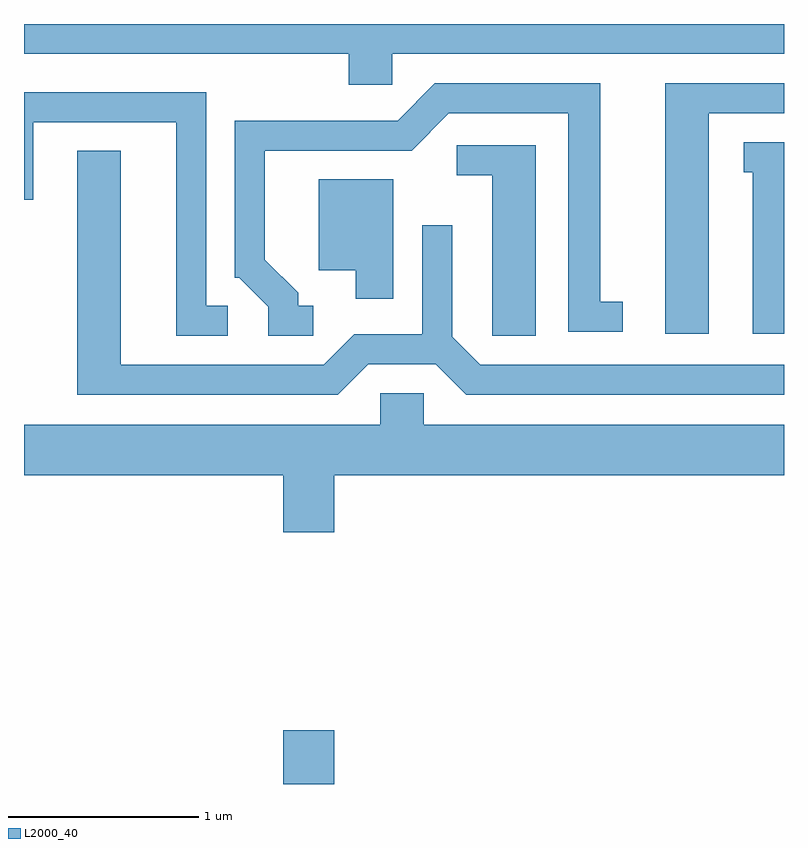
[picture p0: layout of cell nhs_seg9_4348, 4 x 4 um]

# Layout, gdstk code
import gdstk
lib = gdstk.Library(unit=1e-6, precision=1e-09)
def R(c, l, rs):  # rectangles x0, y0, x1, y1
    for r in rs: c.add(gdstk.rectangle(r[:2], r[2:], *l))
def P(c, l, *ps):  # polygons
    for p in ps: c.add(gdstk.Polygon(p, *l))
L2000_40 = (2000, 40)

nhs_seg9_4348 = lib.new_cell('nhs_seg9_4348')
R(nhs_seg9_4348, L2000_40, [(314.976,1972.432,315.244,1972.714)])
P(nhs_seg9_4348, L2000_40, [(315.549,1976.276),(317.611,1976.276),(317.611,1976.432),(313.611,1976.432),(313.611,1976.276),(315.321,1976.276),(315.321,1976.111),(315.549,1976.111)],
  [(317.214,1975.961),(317.611,1975.961),(317.611,1976.119),(316.986,1976.119),(316.986,1974.801),(317.214,1974.801)],
  [(315.133,1974.949),(315.054,1974.949),(315.054,1975.017),(314.879,1975.192),(314.879,1975.766),(315.652,1975.766),(315.847,1975.961),(316.476,1975.961),(316.476,1974.811),(316.763,1974.811),(316.763,1974.969),(316.644,1974.969),(316.644,1976.119),(315.774,1976.119),(315.579,1975.924),(314.721,1975.924),(314.721,1975.096),(314.744,1975.096),(314.896,1974.944),(314.896,1974.791),(315.133,1974.791)],
  [(314.683,1974.949),(314.569,1974.949),(314.569,1976.074),(313.611,1976.074),(313.611,1975.506),(313.659,1975.506),(313.659,1975.916),(314.411,1975.916),(314.411,1974.791),(314.683,1974.791)],
  [(317.611,1975.809),(317.398,1975.809),(317.398,1975.651),(317.446,1975.651),(317.446,1974.801),(317.611,1974.801)],
  [(316.304,1975.794),(315.888,1975.794),(315.888,1975.636),(316.076,1975.636),(316.076,1974.791),(316.304,1974.791)],
  [(315.422,1974.641),(315.779,1974.641),(315.939,1974.481),(317.611,1974.481),(317.611,1974.639),(316.012,1974.639),(315.864,1974.787),(315.864,1975.373),(315.706,1975.373),(315.706,1974.799),(315.349,1974.799),(315.189,1974.639),(314.119,1974.639),(314.119,1975.764),(313.891,1975.764),(313.891,1974.481),(315.262,1974.481)],
  [(315.554,1975.614),(315.161,1975.614),(315.161,1975.136),(315.356,1975.136),(315.356,1974.986),(315.554,1974.986)],
  [(315.244,1974.056),(317.611,1974.056),(317.611,1974.324),(315.714,1974.324),(315.714,1974.489),(315.486,1974.489),(315.486,1974.324),(313.611,1974.324),(313.611,1974.056),(314.976,1974.056),(314.976,1973.756),(315.244,1973.756)])

lib.write_gds('nhs_seg9_4348.gds')
